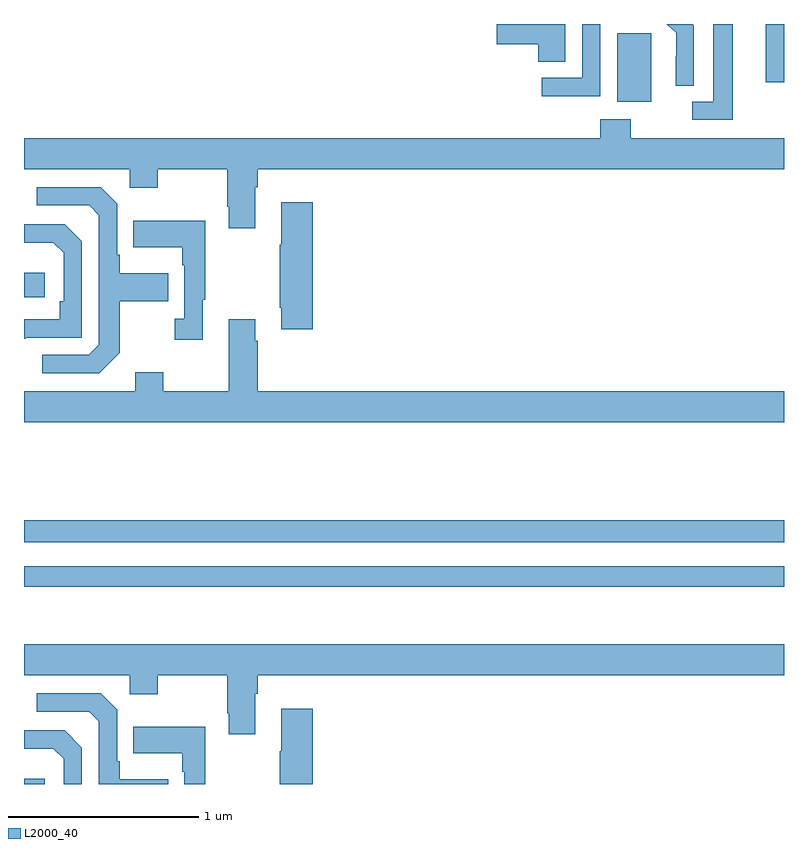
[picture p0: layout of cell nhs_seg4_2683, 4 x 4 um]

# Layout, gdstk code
import gdstk
lib = gdstk.Library(unit=1e-6, precision=1e-09)
def R(c, l, rs):  # rectangles x0, y0, x1, y1
    for r in rs: c.add(gdstk.rectangle(r[:2], r[2:], *l))
def P(c, l, *ps):  # polygons
    for p in ps: c.add(gdstk.Polygon(p, *l))
L2000_40 = (2000, 40)

nhs_seg4_2683 = lib.new_cell('nhs_seg4_2683')
R(nhs_seg4_2683, L2000_40, [(251,810.9,251.11,810.928), (251,811.938,255,812.046), (251,812.172,255,812.288), (251,813.462,251.11,813.592), (254.123,814.49,254.302,814.851), (254.903,814.593,255,814.9)])
P(nhs_seg4_2683, L2000_40, [(254.731,814.9),(254.627,814.9),(254.627,814.491),(254.517,814.491),(254.517,814.395),(254.731,814.395)],
  [(254.034,814.9),(253.938,814.9),(253.938,814.617),(253.725,814.617),(253.725,814.519),(254.034,814.519)],
  [(254.526,814.894),(254.52,814.9),(254.384,814.9),(254.432,814.853),(254.432,814.73),(254.43,814.73),(254.43,814.576),(254.526,814.576)],
  [(253.849,814.9),(253.488,814.9),(253.488,814.793),(253.706,814.793),(253.706,814.702),(253.849,814.702)],
  [(252.217,814.04),(252.23,814.04),(252.23,814.136),(255,814.136),(255,814.3),(254.193,814.3),(254.193,814.399),(254.033,814.399),(254.033,814.3),(251,814.3),(251,814.136),(251.556,814.136),(251.556,814.037),(251.703,814.037),(251.703,814.136),(252.07,814.136),(252.07,813.937),(252.077,813.937),(252.077,813.825),(252.217,813.825)],
  [(251.503,813.169),(251.503,813.442),(251.759,813.442),(251.759,813.589),(251.503,813.589),(251.503,813.685),(251.49,813.685),(251.49,813.954),(251.403,814.041),(251.067,814.041),(251.067,813.945),(251.343,813.945),(251.394,813.894),(251.394,813.213),(251.34,813.159),(251.097,813.159),(251.097,813.063),(251.397,813.063)],
  [(252.521,813.961),(252.353,813.961),(252.353,813.737),(252.346,813.737),(252.346,813.406),(252.353,813.406),(252.353,813.294),(252.521,813.294)],
  [(251.941,813.449),(251.953,813.449),(251.953,813.865),(251.575,813.865),(251.575,813.725),(251.832,813.725),(251.832,813.629),(251.844,813.629),(251.844,813.35),(251.793,813.35),(251.793,813.237),(251.941,813.237)],
  [(251.009,813.249),(251.304,813.249),(251.304,813.756),(251.214,813.846),(251,813.846),(251,813.749),(251.155,813.749),(251.208,813.696),(251.208,813.442),(251.188,813.442),(251.188,813.345),(251,813.345),(251,813.244),(251.009,813.244)],
  [(255,812.968),(252.23,812.968),(252.23,813.233),(252.217,813.233),(252.217,813.346),(252.077,813.346),(252.077,812.968),(251.733,812.968),(251.733,813.067),(251.585,813.067),(251.585,812.968),(251,812.968),(251,812.804),(255,812.804)],
  [(252.217,811.376),(252.23,811.376),(252.23,811.472),(255,811.472),(255,811.636),(251,811.636),(251,811.472),(251.556,811.472),(251.556,811.373),(251.703,811.373),(251.703,811.472),(252.07,811.472),(252.07,811.273),(252.077,811.273),(252.077,811.161),(252.217,811.161)],
  [(251.759,810.925),(251.503,810.925),(251.503,811.021),(251.49,811.021),(251.49,811.29),(251.403,811.377),(251.067,811.377),(251.067,811.281),(251.343,811.281),(251.394,811.23),(251.394,810.9),(251.759,810.9)],
  [(252.521,811.297),(252.353,811.297),(252.353,811.073),(252.346,811.073),(252.346,810.9),(252.521,810.9)],
  [(251.953,811.201),(251.575,811.201),(251.575,811.061),(251.832,811.061),(251.832,810.965),(251.844,810.965),(251.844,810.9),(251.953,810.9)],
  [(251.304,811.092),(251.214,811.182),(251,811.182),(251,811.085),(251.155,811.085),(251.208,811.032),(251.208,810.9),(251.304,810.9)])

lib.write_gds('nhs_seg4_2683.gds')
